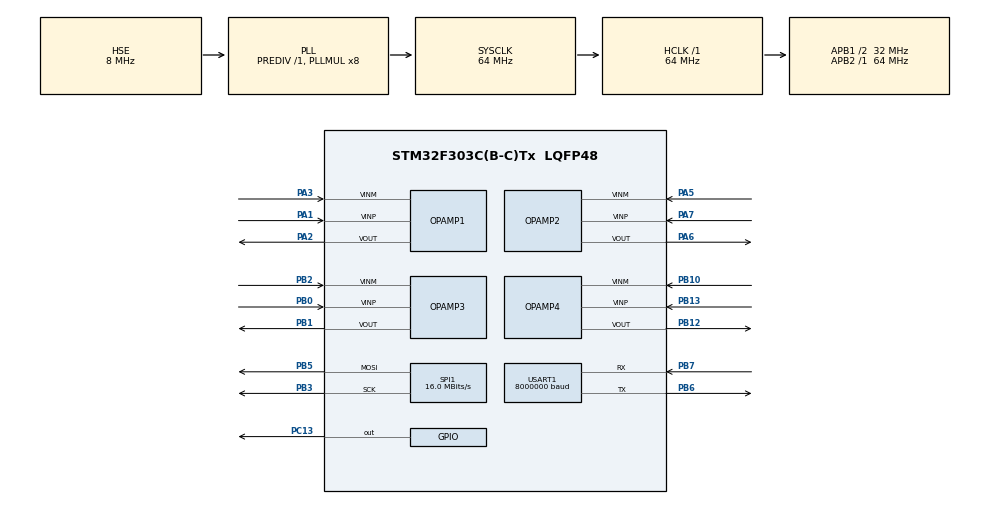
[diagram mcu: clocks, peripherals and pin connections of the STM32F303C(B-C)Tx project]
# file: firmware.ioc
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ADC1.Channel-21\#ChannelRegularConversion=ADC_CHANNEL_3
ADC1.ClockPrescaler=ADC_CLOCKPRESCALER_PCLK_DIV2
ADC1.ContinuousConvMode=DISABLE
ADC1.DMAContinuousRequests=ENABLE
ADC1.DataAlign=ADC_DATAALIGN_RIGHT
ADC1.DiscontinuousConvMode=DISABLE
ADC1.EOCSelection=EOC_SEQ_CONV
ADC1.EnableAnalogWatchDog1=false
ADC1.EnableAnalogWatchDog2=false
ADC1.EnableAnalogWatchDog3=false
ADC1.EnableInjectedConversion=ENABLE
ADC1.EnableRegularConversion=ENABLE
ADC1.ExternalTrigConv=ADC_EXTERNALTRIGCONV_T3_TRGO
ADC1.ExternalTrigConvEdge=ADC_EXTERNALTRIGCONVEDGE_RISING
ADC1.InjNumberOfConversion=0
ADC1.LowPowerAutoWait=DISABLE
ADC1.NbrOfConversion=1
ADC1.NbrOfConversionFlag=1
ADC1.Offset-21\#ChannelRegularConversion=0
ADC1.OffsetNumber-21\#ChannelRegularConversion=ADC_OFFSET_NONE
ADC1.Overrun=OVR_DATA_OVERWRITTEN
ADC1.Rank-21\#ChannelRegularConversion=1
ADC1.Resolution=ADC_RESOLUTION12b
ADC1.SamplingTime-21\#ChannelRegularConversion=ADC_SAMPLETIME_181CYCLES_5
ADC1.ScanConvMode=ADC_SCAN_DISABLE
ADC1.master=1
ADC4.Channel-0\#ChannelRegularConversion=ADC_CHANNEL_3
ADC4.ClockPrescaler=ADC_CLOCKPRESCALER_PCLK_DIV2
ADC4.ContinuousConvMode=DISABLE
ADC4.DMAContinuousRequests=ENABLE
ADC4.EOCSelection=EOC_SEQ_CONV
ADC4.ExternalTrigConv=ADC_EXTERNALTRIGCONV_T3_TRGO
ADC4.ExternalTrigConvEdge=ADC_EXTERNALTRIGCONVEDGE_RISING
ADC4.NbrOfConversionFlag=1
ADC4.Offset-0\#ChannelRegularConversion=0
ADC4.OffsetNumber-0\#ChannelRegularConversion=ADC_OFFSET_NONE
ADC4.Rank-0\#ChannelRegularConversion=1
ADC4.SamplingTime-0\#ChannelRegularConversion=ADC_SAMPLETIME_181CYCLES_5
Dma.ADC1.1.Direction=DMA_PERIPH_TO_MEMORY
Dma.ADC1.1.Instance=DMA1_Channel1
Dma.ADC1.1.MemDataAlignment=DMA_MDATAALIGN_HALFWORD
Dma.ADC1.1.MemInc=DMA_MINC_ENABLE
Dma.ADC1.1.Mode=DMA_NORMAL
Dma.ADC1.1.PeriphDataAlignment=DMA_PDATAALIGN_HALFWORD
Dma.ADC1.1.PeriphInc=DMA_PINC_DISABLE
Dma.ADC1.1.Priority=DMA_PRIORITY_MEDIUM
Dma.ADC4.0.Direction=DMA_PERIPH_TO_MEMORY
Dma.ADC4.0.Instance=DMA2_Channel2
Dma.ADC4.0.MemDataAlignment=DMA_MDATAALIGN_HALFWORD
Dma.ADC4.0.MemInc=DMA_MINC_ENABLE
Dma.ADC4.0.Mode=DMA_NORMAL
Dma.ADC4.0.PeriphDataAlignment=DMA_PDATAALIGN_HALFWORD
Dma.ADC4.0.PeriphInc=DMA_PINC_DISABLE
Dma.ADC4.0.Priority=DMA_PRIORITY_MEDIUM
Dma.Request0=ADC4
Dma.Request1=ADC1
Dma.Request2=USART1_TX
Dma.USART1_TX.2.Direction=DMA_MEMORY_TO_PERIPH
Dma.USART1_TX.2.Instance=DMA1_Channel4
Dma.USART1_TX.2.MemDataAlignment=DMA_MDATAALIGN_BYTE
Dma.USART1_TX.2.MemInc=DMA_MINC_ENABLE
Dma.USART1_TX.2.Mode=DMA_NORMAL
Dma.USART1_TX.2.PeriphDataAlignment=DMA_PDATAALIGN_BYTE
Dma.USART1_TX.2.PeriphInc=DMA_PINC_DISABLE
Dma.USART1_TX.2.Priority=DMA_PRIORITY_HIGH
Mcu.Family=STM32F3
Mcu.Name=STM32F303C(B-C)Tx
Mcu.Package=LQFP48
NVIC.DMA1_Channel1_IRQn=true\:0\:0\:false
NVIC.DMA1_Channel4_IRQn=true\:0\:0\:false
NVIC.DMA2_Channel2_IRQn=true\:0\:0\:false
NVIC.PriorityGroup=NVIC_PRIORITYGROUP_4
NVIC.USART1_IRQn=true\:0\:0\:false
OPAMP1.SelfCalibration=Disable
OPAMP1.UserTrimming=OPAMP_TRIMMING_FACTORY
PA1.Mode=Standalone
PA1.Signal=OPAMP1_VINP
PA13.Mode=Serial-Wire
PA13.Signal=SYS_JTMS-SWDIO
PA14.Mode=Serial-Wire
PA14.Signal=SYS_JTCK-SWCLK
PA2.Mode=Standalone
PA2.Signal=OPAMP1_VOUT
PA3.Mode=Standalone
PA3.Signal=OPAMP1_VINM
PA5.Mode=Standalone
PA5.Signal=OPAMP2_VINM
PA6.Mode=Standalone
PA6.Signal=OPAMP2_VOUT
PA7.Mode=Standalone
PA7.Signal=OPAMP2_VINP
PB0.Mode=Standalone
PB0.Signal=OPAMP3_VINP
PB1.Mode=Standalone
PB1.Signal=OPAMP3_VOUT
PB10.Mode=Standalone
PB10.Signal=OPAMP4_VINM
PB12.Mode=Standalone
PB12.Signal=OPAMP4_VOUT
PB13.Mode=Standalone
PB13.Signal=OPAMP4_VINP
PB2.Mode=Standalone
PB2.Signal=OPAMP3_VINM
PB3.Mode=TX_Only_Simplex_Unidirect_Master
PB3.Signal=SPI1_SCK
PB5.Mode=TX_Only_Simplex_Unidirect_Master
PB5.Signal=SPI1_MOSI
PB6.Mode=Asynchronous
PB6.Signal=USART1_TX
PB7.Mode=Asynchronous
PB7.Signal=USART1_RX
PC13.Signal=GPIO_Output
PF0-OSC_IN.Mode=HSE-External-Oscillator
PF0-OSC_IN.Signal=RCC_OSC_IN
PF1-OSC_OUT.Mode=HSE-External-Oscillator
PF1-OSC_OUT.Signal=RCC_OSC_OUT
ProjectManager.HeapSize=0x400
ProjectManager.StackSize=0x200
ProjectManager.TargetToolchain=SW4STM32
RCC.ADC12PRES=RCC_ADC12PLLCLK_DIV4
RCC.ADC34PRES=RCC_ADC34PLLCLK_DIV4
RCC.AHBFreq_Value=64000000
RCC.APB1CLKDivider=RCC_HCLK_DIV2
RCC.APB1Freq_Value=32000000
RCC.APB1TimFreq_Value=64000000
RCC.APB2Freq_Value=64000000
RCC.APB2TimFreq_Value=64000000
RCC.CortexFreq_Value=64000000
RCC.HCLKFreq_Value=64000000
RCC.HSE_VALUE=8000000
RCC.HSIState=RCC_HSI_ON
RCC.HSI_VALUE=8000000
RCC.I2c1ClockSelection=RCC_I2C1CLKSOURCE_SYSCLK
RCC.LSE_VALUE=32768
RCC.PLLMUL=RCC_PLL_MUL8
RCC.PLLSourceVirtual=RCC_PLLSOURCE_HSE
RCC.PRESCALERUSB=RCC_USBPLLCLK_DIV1_5
RCC.SYSCLKFreq_VALUE=64000000
RCC.SYSCLKSourceVirtual=RCC_SYSCLKSOURCE_PLLCLK
RCC.USBFreq_Value=42666666.666666664
RCC.Usart1ClockSelection=RCC_USART1CLKSOURCE_SYSCLK
RCC.Usart2ClockSelection=RCC_USART2CLKSOURCE_SYSCLK
SPI1.BaudRatePrescaler=SPI_BAUDRATEPRESCALER_4
SPI1.CalculateBaudRate=16.0 MBits/s
SPI1.DataSize=SPI_DATASIZE_16BIT
SPI1.Mode=SPI_MODE_MASTER
TIM3.Period=9
TIM3.Prescaler=64
TIM3.TIM_MasterOutputTrigger=TIM_TRGO_UPDATE
USART1.BaudRate=8000000
USART1.Mode=UART_MODE_TX
USART1.OverSampling=UART_OVERSAMPLING_8
VP_ADC1_OPAMP_OUT1.Mode=IN-OPAMP1-Single-Ended
VP_ADC4_OPAMP_OUT4.Mode=IN-OPAMP4-Single-Ended
VP_TIM3_VS_ClockSourceINT.Mode=Internal
board=ADC

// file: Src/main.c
/**
  ******************************************************************************
  * File Name          : main.c
  * Description        : Main program body
  ******************************************************************************
  *
  * COPYRIGHT(c) 2016 STMicroelectronics
  *
  * Redistribution and use in source and binary forms, with or without modification,
  * are permitted provided that the following conditions are met:
  *   1. Redistributions of source code must retain the above copyright notice,
  *      this list of conditions and the following disclaimer.
  *   2. Redistributions in binary form must reproduce the above copyright notice,
  *      this list of conditions and the following disclaimer in the documentation
  *      and/or other materials provided with the distribution.
  *   3. Neither the name of STMicroelectronics nor the names of its contributors
  *      may be used to endorse or promote products derived from this software
  *      without specific prior written permission.
  *
  * THIS SOFTWARE IS PROVIDED BY THE COPYRIGHT HOLDERS AND CONTRIBUTORS "AS IS"
  * AND ANY EXPRESS OR IMPLIED WARRANTIES, INCLUDING, BUT NOT LIMITED TO, THE
  * IMPLIED WARRANTIES OF MERCHANTABILITY AND FITNESS FOR A PARTICULAR PURPOSE ARE
  * DISCLAIMED. IN NO EVENT SHALL THE COPYRIGHT HOLDER OR CONTRIBUTORS BE LIABLE
  * FOR ANY DIRECT, INDIRECT, INCIDENTAL, SPECIAL, EXEMPLARY, OR CONSEQUENTIAL
  * DAMAGES (INCLUDING, BUT NOT LIMITED TO, PROCUREMENT OF SUBSTITUTE GOODS OR
  * SERVICES; LOSS OF USE, DATA, OR PROFITS; OR BUSINESS INTERRUPTION) HOWEVER
  * CAUSED AND ON ANY THEORY OF LIABILITY, WHETHER IN CONTRACT, STRICT LIABILITY,
  * OR TORT (INCLUDING NEGLIGENCE OR OTHERWISE) ARISING IN ANY WAY OUT OF THE USE
  * OF THIS SOFTWARE, EVEN IF ADVISED OF THE POSSIBILITY OF SUCH DAMAGE.
  *
  ******************************************************************************
  */
#include "stm32f3xx_hal.h"
#include "adc.h"
#include "dma.h"
#include "opamp.h"
#include "spi.h"
#include "tim.h"
#include "usart.h"
#include "gpio.h"

/* USER CODE BEGIN Includes */
#include <string.h>
/* USER CODE END Includes */

/* USER CODE BEGIN PV */
/* Private variables ---------------------------------------------------------*/

struct ADC_Packet{
	uint32_t preamble;
	uint16_t channel;
	uint16_t buffer[1001];
};

#define PREAMBLE 0xFFFFF0F0

struct __attribute__((packed)) ADC_Packet ADC1_Packet = {PREAMBLE,1,{0}};
struct __attribute__((packed)) ADC_Packet ADC2_Packet = {PREAMBLE,2,{0}};
struct __attribute__((packed)) ADC_Packet ADC3_Packet = {PREAMBLE,3,{0}};
struct __attribute__((packed)) ADC_Packet ADC4_Packet = {PREAMBLE,4,{0}};

uint8_t ADC_doublebufferbit[4] = {0};
uint8_t ADC1_doublebuffer[2][2000] = {{0},{0}};
uint8_t ADC2_doublebuffer[2][2000] = {{0},{0}};
uint8_t ADC3_doublebuffer[2][2000] = {{0},{0}};
uint8_t ADC4_doublebuffer[2][2000] = {{0},{0}};

extern const unsigned short me_encode_tab[];
/* USER CODE END PV */

void SystemClock_Config(void);

/* USER CODE BEGIN PFP */
/* Private function prototypes -----------------------------------------------*/

/* USER CODE END PFP */

/* USER CODE BEGIN 0 */

void me_encode(uint8_t raw[],uint16_t encoded[], uint16_t length)
{
	for (int i = 0; i < length; i++) {
		encoded[i] = me_encode_tab[raw[i]];
	}
}

void HAL_UART_TxCpltCallback(UART_HandleTypeDef* huart)
{
//	__HAL_UART_SEND_REQ(&huart1 ,UART_SENDBREAK_REQUEST);
}

void HAL_ADC_ConvCpltCallback(ADC_HandleTypeDef* hadc)
{
	HAL_ADC_Stop(hadc);
	if (&hadc1 == hadc) {
		//me_encode(ADC1_doublebuffer[ADC_doublebufferbit[0]],ADC1_Packet.buffer, 2000);
		//ADC_doublebufferbit[0] = ADC_doublebufferbit[0] ? 0 : 1;
		HAL_UART_Transmit_DMA(&huart1, (uint8_t*)&ADC1_Packet, sizeof(struct ADC_Packet));
	}
	if (&hadc4 == hadc) {
		//me_encode(ADC4_doublebuffer[ADC_doublebufferbit[3]],ADC4_Packet.buffer, 2000);
		//ADC_doublebufferbit[3] = ADC_doublebufferbit[3] ? 0 : 1;
		HAL_UART_Transmit_DMA(&huart1, (uint8_t*)&ADC4_Packet, sizeof(struct ADC_Packet));
	}
}

void HAL_ADC_ConvHalfCpltCallback(ADC_HandleTypeDef* hadc)
{
	if (&hadc1 == hadc) {
		HAL_ADC_Start_DMA(&hadc4, (uint32_t*)ADC4_Packet.buffer, 1000);
	}
	if (&hadc4 == hadc) {
		HAL_ADC_Start_DMA(&hadc1, (uint32_t*)ADC1_Packet.buffer, 1000);
	}
}

/* USER CODE END 0 */

int main(void)
{

  /* MCU Configuration----------------------------------------------------------*/

  /* Reset of all peripherals, Initializes the Flash interface and the Systick. */
  HAL_Init();

  /* Configure the system clock */
  SystemClock_Config();

  /* Initialize all configured peripherals */
  MX_GPIO_Init();
  MX_DMA_Init();
  MX_ADC1_Init();
  MX_OPAMP1_Init();
  MX_OPAMP2_Init();
  MX_OPAMP3_Init();
  MX_OPAMP4_Init();
  MX_USART1_UART_Init();
  MX_ADC4_Init();
  MX_SPI1_Init();
  MX_TIM3_Init();

  /* USER CODE BEGIN 2 */
  HAL_StatusTypeDef HAL_Status;

  HAL_Status = HAL_TIM_Base_Start(&htim3);
    if (HAL_Status != HAL_OK)
  	  return 0;
  HAL_ADC_Stop_DMA(&hadc1);
  //  HAL_ADC_Stop_DMA(&hadc2);
  //  HAL_ADC_Stop_DMA(&hadc3);
  HAL_ADC_Stop_DMA(&hadc4);

  HAL_Status = HAL_ADCEx_Calibration_SetValue(&hadc1, ADC_SINGLE_ENDED, 0);
  if (HAL_Status != HAL_OK)
	  return 0;
  HAL_Status = HAL_OPAMP_Start(&hopamp1);
  if (HAL_Status != HAL_OK)
	  return 0;

  HAL_Status = HAL_ADCEx_Calibration_SetValue(&hadc4, ADC_SINGLE_ENDED, 0);
    if (HAL_Status != HAL_OK)
  	  return 0;
    HAL_Status = HAL_OPAMP_Start(&hopamp4);
    if (HAL_Status != HAL_OK)
  	  return 0;

  HAL_StatusTypeDef ADC_DMA_Status = HAL_ADC_Start_DMA(&hadc1, (uint32_t*)ADC1_Packet.buffer, 1000);
  if (ADC_DMA_Status != HAL_OK)
	  return 0;

  /* USER CODE END 2 */

  /* Infinite loop */
  while (1)
  {

  /* USER CODE BEGIN 3 */
	  HAL_PWR_EnterSLEEPMode(PWR_MAINREGULATOR_ON, PWR_SLEEPENTRY_WFI);
  }
  /* USER CODE END 3 */

}

/** System Clock Configuration
*/
void SystemClock_Config(void)
{

  RCC_OscInitTypeDef RCC_OscInitStruct;
  RCC_ClkInitTypeDef RCC_ClkInitStruct;
  RCC_PeriphCLKInitTypeDef PeriphClkInit;

  RCC_OscInitStruct.OscillatorType = RCC_OSCILLATORTYPE_HSE;
  RCC_OscInitStruct.HSEState = RCC_HSE_ON;
  RCC_OscInitStruct.HSEPredivValue = RCC_HSE_PREDIV_DIV1;
  RCC_OscInitStruct.PLL.PLLState = RCC_PLL_ON;
  RCC_OscInitStruct.PLL.PLLSource = RCC_PLLSOURCE_HSE;
  RCC_OscInitStruct.PLL.PLLMUL = RCC_PLL_MUL8;
  HAL_RCC_OscConfig(&RCC_OscInitStruct);

  RCC_ClkInitStruct.ClockType = RCC_CLOCKTYPE_HCLK|RCC_CLOCKTYPE_SYSCLK
                              |RCC_CLOCKTYPE_PCLK1|RCC_CLOCKTYPE_PCLK2;
  RCC_ClkInitStruct.SYSCLKSource = RCC_SYSCLKSOURCE_PLLCLK;
  RCC_ClkInitStruct.AHBCLKDivider = RCC_SYSCLK_DIV1;
  RCC_ClkInitStruct.APB1CLKDivider = RCC_HCLK_DIV2;
  RCC_ClkInitStruct.APB2CLKDivider = RCC_HCLK_DIV1;
  HAL_RCC_ClockConfig(&RCC_ClkInitStruct, FLASH_LATENCY_2);

  PeriphClkInit.PeriphClockSelection = RCC_PERIPHCLK_USART1;
  PeriphClkInit.Usart1ClockSelection = RCC_USART1CLKSOURCE_SYSCLK;
  HAL_RCCEx_PeriphCLKConfig(&PeriphClkInit);

  HAL_SYSTICK_Config(HAL_RCC_GetHCLKFreq()/1000);

  HAL_SYSTICK_CLKSourceConfig(SYSTICK_CLKSOURCE_HCLK);

  /* SysTick_IRQn interrupt configuration */
  HAL_NVIC_SetPriority(SysTick_IRQn, 0, 0);
}

/************************ (C) COPYRIGHT STMicroelectronics *****END OF FILE****/
